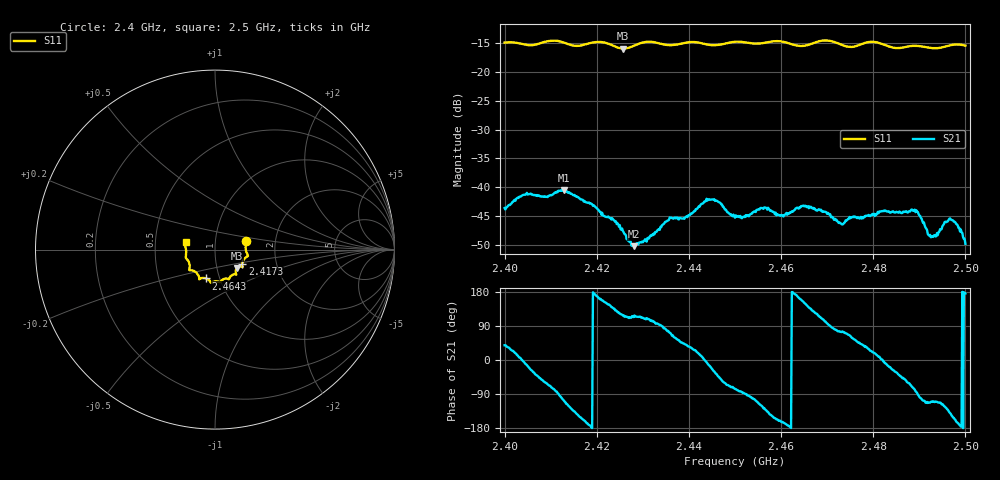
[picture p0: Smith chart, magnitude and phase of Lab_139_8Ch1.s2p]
# Hz S RI R
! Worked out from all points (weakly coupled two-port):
!   601 points, 2.4 GHz to 2.5 GHz, reference 50 ohm
!   highest |S21| = -40.51 dB at 2.4128 GHz (marker M1); lowest = -50.2 dB at 2.428 GHz (marker M2)
!   lowest |S11| = -15.9 dB at 2.4257 GHz (marker M3), VSWR 1.38, Z = 62.5 - j13.1 ohm
!   |S11| at or under -10 dB: start of sweep to end of sweep
!   S12 and S22 are empty: the file has one direction only
!   S11 on the Smith chart (normalised r, x): 2.4 GHz: 1.41, +0.14; 2.4173 GHz: 1.34, -0.23; 2.4643 GHz: 0.86, -0.28; 2.5 GHz: 0.72, +0.06
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2.4e9  0.1731 0.0488  0.00513 0.00415  0 0  0 0
2.404333e9  0.1716 0.0222  0.00853 -0.00111  0 0  0 0
2.408833e9  0.1811 -0.0277  0.00419 -0.0071  0 0  0 0
2.412833e9  0.1758 -0.0405  -0.0027 -0.00904  0 0  0 0
2.416667e9  0.1528 -0.0749  -0.00702 -0.00348  0 0  0 0
2.417333e9  0.1519 -0.0823  -0.00716 -0.00257  0 0  0 0
2.421e9  0.1537 -0.097  -0.00539 0.0021  0 0  0 0
2.425667e9  0.1229 -0.102  -0.00193 0.0037  0 0  0 0
2.428e9  0.1148 -0.1235  -0.00122 0.00283  0 0  0 0
2.433333e9  0.1129 -0.1374  -0.000367 0.00428  0 0  0 0
2.444333e9  0.0609 -0.1611  0.00765 -0.00187  0 0  0 0
2.45e9  0.029 -0.1808  0.00128 -0.00528  0 0  0 0
2.456167e9  -0.00767 -0.1783  -0.00395 -0.00514  0 0  0 0
2.460167e9  -0.0247 -0.1823  -0.00549 -0.0016  0 0  0 0
2.464333e9  -0.0502 -0.1605  -0.00642 0.00242  0 0  0 0
2.466667e9  -0.0761 -0.159  -0.00433 0.00499  0 0  0 0
2.473e9  -0.0909 -0.147  0.00134 0.00465  0 0  0 0
2.483333e9  -0.1407 -0.0899  0.00593 -0.00176  0 0  0 0
2.489167e9  -0.1627 -0.0444  0.000839 -0.00602  0 0  0 0
2.4925e9  -0.1606 -0.0202  -0.00129 -0.00344  0 0  0 0
2.497e9  -0.1695 0.027  -0.00432 -0.0029  0 0  0 0
2.5e9  -0.1639 0.0426  -0.00322 0.000252  0 0  0 0
